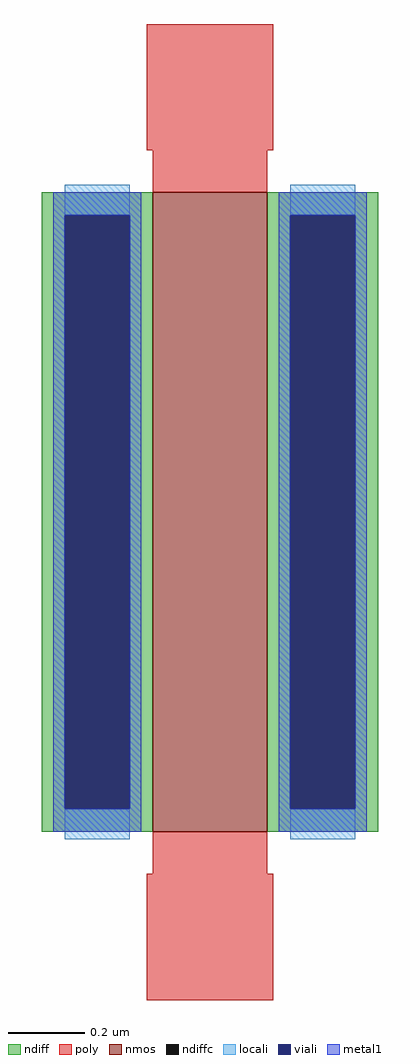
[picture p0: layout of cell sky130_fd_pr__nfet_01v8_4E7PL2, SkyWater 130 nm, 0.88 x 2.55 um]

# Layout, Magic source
magic
tech sky130A
magscale 1 2
<< nmos >>
rect -30 -167 30 167
<< ndiff >>
rect -88 155 -30 167
rect -88 -155 -76 155
rect -42 -155 -30 155
rect -88 -167 -30 -155
rect 30 155 88 167
rect 30 -155 42 155
rect 76 -155 88 155
rect 30 -167 88 -155
<< ndiffc >>
rect -76 -155 -42 155
rect 42 -155 76 155
<< poly >>
rect -33 189 33 255
rect -30 167 30 189
rect -30 -189 30 -167
rect -33 -255 33 -189
<< locali >>
rect -76 155 -42 171
rect -76 -171 -42 -155
rect 42 155 76 171
rect 42 -171 76 -155
<< viali >>
rect -76 -155 -42 155
rect 42 -155 76 155
<< metal1 >>
rect -82 155 -36 167
rect -82 -155 -76 155
rect -42 -155 -36 155
rect -82 -167 -36 -155
rect 36 155 82 167
rect 36 -155 42 155
rect 76 -155 82 155
rect 36 -167 82 -155
<< properties >>
string gencell sky130_fd_pr__nfet_01v8
string library sky130
string parameters w 1.67 l 0.3 m 1 nf 1 diffcov 100 polycov 100 guard 0 glc 0 grc 0 gtc 0 gbc 0 tbcov 100 rlcov 100 topc 1 botc 1 poverlap 0 doverlap 1 lmin 0.15 wmin 0.42 compatible {sky130_fd_pr__nfet_01v8 sky130_fd_pr__nfet_01v8_lvt  sky130_fd_bs_flash__special_sonosfet_star  sky130_fd_pr__nfet_g5v0d10v5 sky130_fd_pr__nfet_05v0_nvt  sky130_fd_pr__nfet_03v3_nvt} full_metal 0 viasrc 100 viadrn 100 viagate 100 viagb 0 viagr 0 viagl 0 viagt 0
<< end >>
